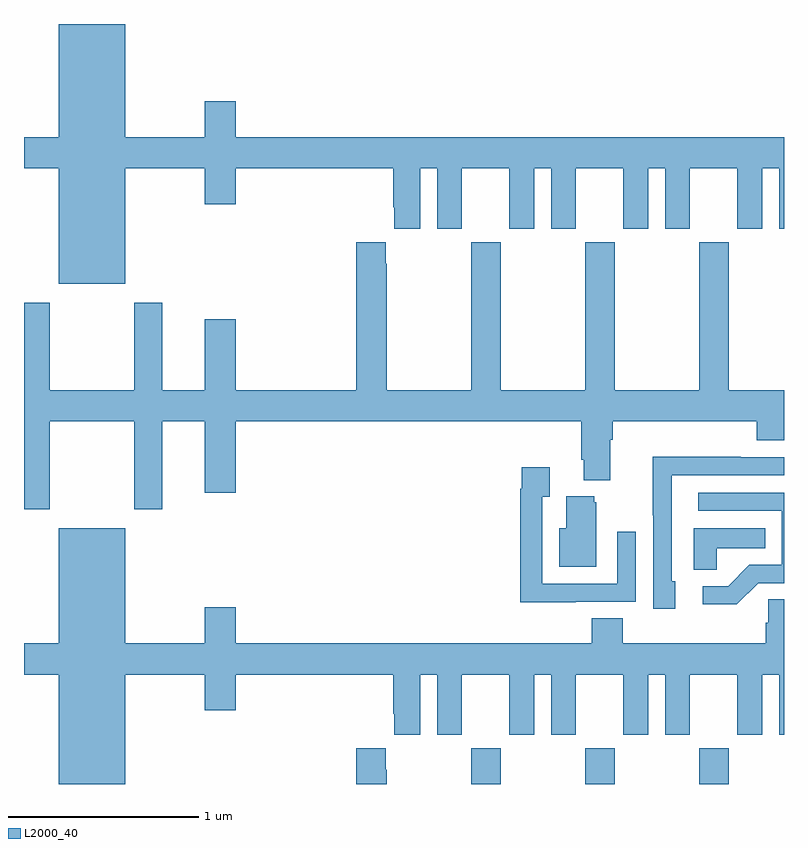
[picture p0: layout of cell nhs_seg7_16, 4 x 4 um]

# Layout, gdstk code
import gdstk
lib = gdstk.Library(unit=1e-6, precision=1e-09)
def R(c, l, rs):  # rectangles x0, y0, x1, y1
    for r in rs: c.add(gdstk.rectangle(r[:2], r[2:], *l))
def A(c, l, x, y, w, h, nx, ny, dx, dy):  # array of equal rectangles
    R(c, l, [(x+i*dx, y+j*dy, x+i*dx+w, y+j*dy+h) for i in range(nx) for j in range(ny)])
def P(c, l, *ps):  # polygons
    for p in ps: c.add(gdstk.Polygon(p, *l))
L2000_40 = (2000, 40)

nhs_seg7_16 = lib.new_cell('nhs_seg7_16')
A(nhs_seg7_16, L2000_40, 113.353, 1040, 0.155, 0.188, 3, 1, 0.6, 0)
P(nhs_seg7_16, L2000_40, [(111.532,1043.24),(111.95,1043.24),(111.95,1043.052),(112.114,1043.052),(112.114,1043.24),(112.943,1043.24),(112.943,1043.035),(112.949,1043.035),(112.949,1042.923),(113.086,1042.923),(113.086,1043.24),(113.174,1043.24),(113.174,1042.923),(113.305,1042.923),(113.305,1043.24),(113.555,1043.24),(113.555,1042.923),(113.686,1042.923),(113.686,1043.24),(113.774,1043.24),(113.774,1042.923),(113.905,1042.923),(113.905,1043.24),(114.155,1043.24),(114.155,1042.923),(114.286,1042.923),(114.286,1043.24),(114.374,1043.24),(114.374,1042.923),(114.505,1042.923),(114.505,1043.24),(114.755,1043.24),(114.755,1042.923),(114.886,1042.923),(114.886,1043.24),(114.974,1043.24),(114.974,1042.923),(115,1042.923),(115,1043.404),(112.114,1043.404),(112.114,1043.593),(111.95,1043.593),(111.95,1043.404),(111.532,1043.404),(111.532,1044),(111.182,1044),(111.182,1043.404),(111,1043.404),(111,1043.24),(111.182,1043.24),(111.182,1042.634),(111.532,1042.634)],
  [(111.135,1041.908),(111.58,1041.908),(111.58,1041.447),(111.727,1041.447),(111.727,1041.908),(111.95,1041.908),(111.95,1041.534),(112.114,1041.534),(112.114,1041.908),(113.933,1041.908),(113.933,1041.706),(113.945,1041.706),(113.945,1041.599),(114.085,1041.599),(114.085,1041.812),(114.098,1041.812),(114.098,1041.908),(114.857,1041.908),(114.857,1041.809),(115,1041.809),(115,1042.072),(114.708,1042.072),(114.708,1042.852),(114.553,1042.852),(114.553,1042.072),(114.108,1042.072),(114.108,1042.852),(113.953,1042.852),(113.953,1042.072),(113.508,1042.072),(113.508,1042.852),(113.353,1042.852),(113.353,1042.072),(112.908,1042.072),(112.908,1042.739),(112.903,1042.739),(112.903,1042.852),(112.748,1042.852),(112.748,1042.072),(112.114,1042.072),(112.114,1042.447),(111.95,1042.447),(111.95,1042.072),(111.727,1042.072),(111.727,1042.534),(111.58,1042.534),(111.58,1042.072),(111.135,1042.072),(111.135,1042.534),(111,1042.534),(111,1041.447),(111.135,1041.447)],
  [(114.427,1041.066),(114.408,1041.066),(114.408,1041.624),(115,1041.624),(115,1041.72),(114.773,1041.72),(114.773,1041.722),(114.31,1041.722),(114.31,1041.415),(114.312,1041.415),(114.312,1040.922),(114.427,1040.922)],
  [(113.903,1040.958),(114.219,1040.958),(114.219,1041.328),(114.123,1041.328),(114.123,1041.054),(113.727,1041.054),(113.727,1041.511),(113.767,1041.511),(113.767,1041.667),(113.619,1041.667),(113.619,1041.554),(113.611,1041.554),(113.611,1040.957),(113.903,1040.957)],
  [(114.864,1041.057),(115,1041.057),(115,1041.534),(114.549,1041.534),(114.549,1041.438),(114.987,1041.438),(114.987,1041.153),(114.818,1041.153),(114.707,1041.042),(114.573,1041.042),(114.573,1040.945),(114.751,1040.945)],
  [(114.013,1041.483),(114.002,1041.483),(114.002,1041.514),(113.855,1041.514),(113.855,1041.346),(113.816,1041.346),(113.816,1041.143),(114.013,1041.143)],
  [(114.645,1041.242),(114.902,1041.242),(114.902,1041.346),(114.524,1041.346),(114.524,1041.127),(114.645,1041.127)],
  [(111.532,1040.576),(111.95,1040.576),(111.95,1040.388),(112.114,1040.388),(112.114,1040.576),(112.943,1040.576),(112.943,1040.371),(112.949,1040.371),(112.949,1040.259),(113.086,1040.259),(113.086,1040.576),(113.174,1040.576),(113.174,1040.259),(113.305,1040.259),(113.305,1040.576),(113.555,1040.576),(113.555,1040.259),(113.686,1040.259),(113.686,1040.576),(113.774,1040.576),(113.774,1040.259),(113.905,1040.259),(113.905,1040.576),(114.155,1040.576),(114.155,1040.259),(114.286,1040.259),(114.286,1040.576),(114.374,1040.576),(114.374,1040.259),(114.505,1040.259),(114.505,1040.576),(114.755,1040.576),(114.755,1040.259),(114.886,1040.259),(114.886,1040.576),(114.974,1040.576),(114.974,1040.259),(115,1040.259),(115,1040.972),(114.918,1040.972),(114.918,1040.849),(114.905,1040.849),(114.905,1040.74),(114.152,1040.74),(114.152,1040.873),(113.987,1040.873),(113.987,1040.74),(112.114,1040.74),(112.114,1040.929),(111.95,1040.929),(111.95,1040.74),(111.532,1040.74),(111.532,1041.346),(111.182,1041.346),(111.182,1040.74),(111,1040.74),(111,1040.576),(111.182,1040.576),(111.182,1040),(111.532,1040)],
  [(112.908,1040.075),(112.903,1040.075),(112.903,1040.188),(112.748,1040.188),(112.748,1040),(112.908,1040)])

lib.write_gds('nhs_seg7_16.gds')
